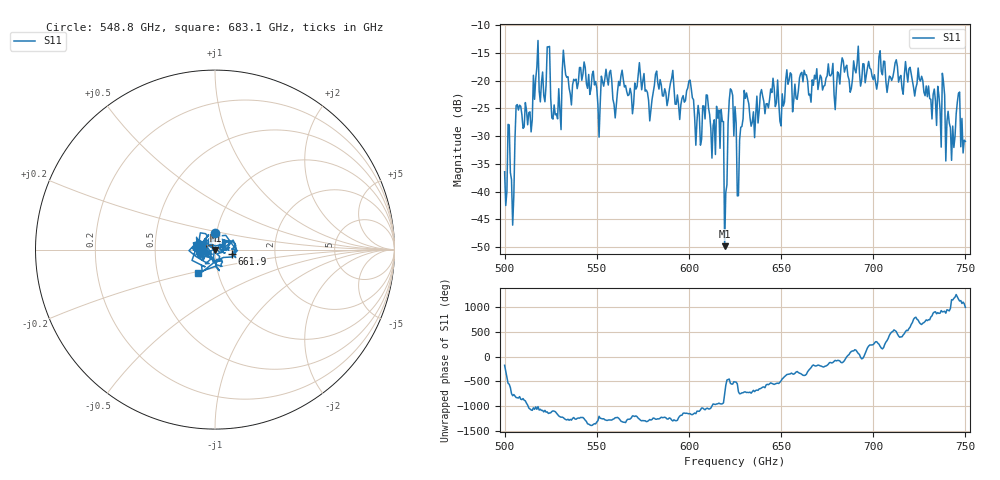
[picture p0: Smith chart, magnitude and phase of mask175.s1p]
!Created with skrf (http://scikit-rf.org).
# GHz S MA R 50.0
!freq magS11 angS11
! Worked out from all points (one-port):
!   401 points, 500 GHz to 750 GHz, reference 50 ohm
!   lowest |S11| = -49.8 dB at 619.4 GHz (marker M1), VSWR 1.01, Z = 50.3 - j0.17 ohm
!   |S11| at or under -10 dB: start of sweep to end of sweep
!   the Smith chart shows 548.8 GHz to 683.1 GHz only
!   S11 on the Smith chart (normalised r, x): 548.8 GHz: 0.98, +0.18; 661.9 GHz: 1.21, -0.06; 683.1 GHz: 0.80, -0.22
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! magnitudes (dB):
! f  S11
! 500 GHz  -36.4
! 502.5 GHz  -28.0
! 504.4 GHz  -46.0
! 507.5 GHz  -25.3
! 513.8 GHz  -25.6
! 516.9 GHz  -19.7
! 523.8 GHz  -13.9
! 526.9 GHz  -24.4
! 531.2 GHz  -18.4
! 548.8 GHz  -20.8
! 562.5 GHz  -20.9
! 593.8 GHz  -22.6
! 616.2 GHz  -25.3
! 619.4 GHz  -49.8
! 620.6 GHz  -38.8
! 622.5 GHz  -21.5
! 625 GHz  -24.7
! 627.5 GHz  -30.7
! 631.2 GHz  -22.2
! 634.4 GHz  -27.5
! 656.2 GHz  -25.6
! 661.9 GHz  -20.2
! 683.1 GHz  -15.9
! 687.5 GHz  -22.1
! 718.8 GHz  -20.3
! 743.1 GHz  -28.2
! 745.6 GHz  -23.9
! 750 GHz  -30.9
